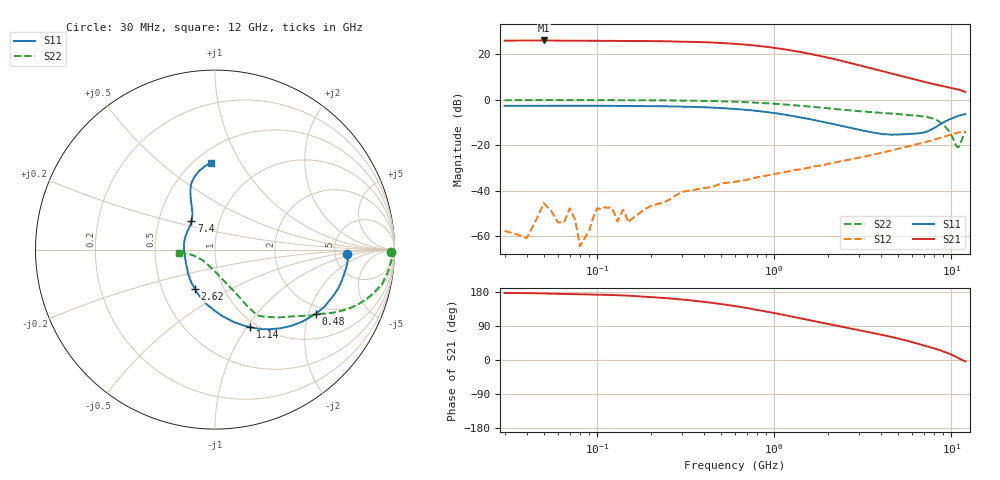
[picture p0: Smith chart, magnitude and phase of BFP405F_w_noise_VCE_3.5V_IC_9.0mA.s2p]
! Infineon Technologies  Discrete & RF Semiconductors
! BFP405F
! VCE =  3.5 V,  IC =  9.0 mA
! Common Emitter S-Parameters:  Nov 2015
# GHz  S  MA  R  50
!  f  S11  S21  S12  S22
! GHz  MAG  ANG  MAG  ANG  MAG  ANG  MAG  ANG
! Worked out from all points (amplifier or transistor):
!   239 points, 30 MHz to 12 GHz, reference 50 ohm
!   highest |S21| = 26.1 dB at 50 MHz (marker M1)
!   |S21| within 3 dB of that: start of sweep to 946.9 MHz
!   unconditionally stable (mu >= 1): 2.429 GHz to end of sweep
!   at 300 MHz: K = 0.26, MSG = 33.1 dB, |S12| = -40.5 dB
!   at 1.88 GHz: K = 0.85, MSG = 23.9 dB, |S12| = -28.8 dB
!   at 12 GHz: K = 1.40, MAG = 4.9 dB, |S12| = -13.9 dB
!   lowest NFmin = 1.60 dB at 450 MHz
!   S11 on the Smith chart (normalised r, x): 30 MHz: 6.53, -0.62; 480 MHz: 1.75, -2.23; 1.14 GHz: 0.93, -1.03; 2.62 GHz: 0.73, -0.34; 7.4 GHz: 0.73, +0.24; 12 GHz: 0.60, +0.75
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0.03  0.7367 -1.7  20.14 176.8  0.0013 -126.5  0.9805 -0.7
0.04  0.735 -2.5  20.14 176.5  0.0009 -110.9  0.9822 -0.9
0.05  0.7376 -3.8  20.27 175.5  0.0053 52.7  0.9909 -1.2
0.06  0.7395 -4.2  20.06 175.0  0.002 47.9  0.983 -1.6
0.07  0.7436 -4.6  20.05 174.0  0.0041 156.4  0.9863 -1.7
0.08  0.7397 -5.4  19.93 173.5  0.0006 142.1  0.9851 -2.1
0.085  0.7405 -5.8  19.96 173.4  0.0009 103.1  0.9839 -2.3
0.1  0.7387 -7.2  19.88 172.7  0.0041 114.6  0.9806 -3.0
0.15  0.733 -10.7  19.85 169.8  0.002 86.1  0.9808 -4.3
0.24  0.7207 -16.9  19.46 163.6  0.0056 83.5  0.9727 -7.1
0.32  0.7041 -22.3  19.07 158.5  0.0098 77.1  0.9609 -9.3
0.48  0.6653 -32.4  18 148.9  0.0135 78.6  0.9332 -13.4
0.6  0.6302 -39.6  17.08 142.1  0.0157 76.4  0.9081 -16.1
0.9  0.5406 -55.1  14.73 127.7  0.0215 70.5  0.8423 -21.8
1.14  0.4736 -65.8  12.95 118.6  0.0254 68.9  0.7911 -25.3
1.64  0.3657 -84.9  10.03 103.6  0.0335 66.5  0.703 -30.5
2.08  0.3019 -100.2  8.229 93.7  0.0396 64.6  0.6434 -34.8
2.62  0.247 -116.7  6.621 84.3  0.0477 63.8  0.5898 -38.9
4.5  0.1723 -167.1  3.863 61.8  0.0756 59.2  0.5021 -48.7
7.4  0.2063 129.4  2.363 35.3  0.1216 49.2  0.4126 -58.2
10.8  0.4349 103.4  1.71 6.7  0.1874 30.9  0.0914 -121.2
12  0.4821 92.6  1.491 -3.6  0.2014 24.1  0.2022 -175.4
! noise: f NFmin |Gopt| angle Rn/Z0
0.45  1.6  0.23  5  0.33
0.9  1.61  0.21  11  0.35
1.5  1.67  0.2  16  0.26
1.9  1.7  0.18  22  0.29
2.4  1.84  0.17  30  0.34
3  1.92  0.15  43  0.31
3.5  1.97  0.13  50  0.3
4.5  2.13  0.1  51  0.2
5.5  2.32  0.05  51  0.05
